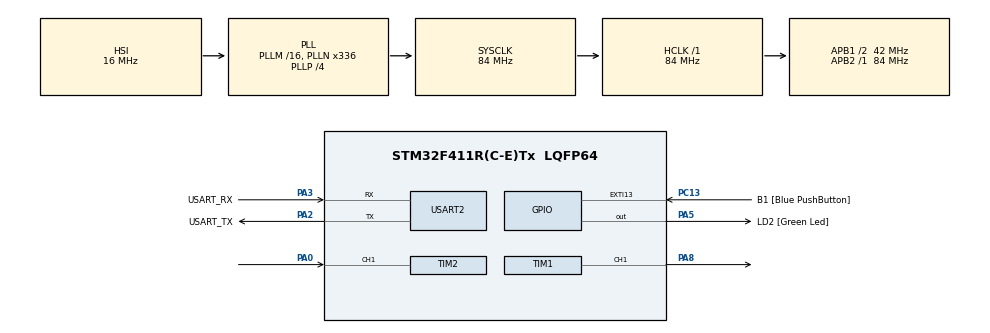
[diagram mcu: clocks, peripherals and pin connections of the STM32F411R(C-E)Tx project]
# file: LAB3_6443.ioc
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Dma.Request0=TIM2_CH1
Dma.TIM2_CH1.0.Direction=DMA_PERIPH_TO_MEMORY
Dma.TIM2_CH1.0.FIFOMode=DMA_FIFOMODE_DISABLE
Dma.TIM2_CH1.0.Instance=DMA1_Stream5
Dma.TIM2_CH1.0.MemDataAlignment=DMA_MDATAALIGN_WORD
Dma.TIM2_CH1.0.MemInc=DMA_MINC_ENABLE
Dma.TIM2_CH1.0.Mode=DMA_CIRCULAR
Dma.TIM2_CH1.0.PeriphDataAlignment=DMA_PDATAALIGN_WORD
Dma.TIM2_CH1.0.PeriphInc=DMA_PINC_DISABLE
Dma.TIM2_CH1.0.Priority=DMA_PRIORITY_LOW
Mcu.Family=STM32F4
Mcu.Name=STM32F411R(C-E)Tx
Mcu.Package=LQFP64
NVIC.DMA1_Stream5_IRQn=true\:0\:0\:false\:false\:true\:false\:true\:true
NVIC.PriorityGroup=NVIC_PRIORITYGROUP_0
PA0-WKUP.Signal=S_TIM2_CH1_ETR
PA13.GPIO_Label=TMS
PA13.Mode=Serial_Wire
PA13.Signal=SYS_JTMS-SWDIO
PA14.GPIO_Label=TCK
PA14.Mode=Serial_Wire
PA14.Signal=SYS_JTCK-SWCLK
PA2.GPIO_Label=USART_TX
PA2.Mode=Asynchronous
PA2.Signal=USART2_TX
PA3.GPIO_Label=USART_RX
PA3.Mode=Asynchronous
PA3.Signal=USART2_RX
PA5.GPIO_Label=LD2 [Green Led]
PA5.Signal=GPIO_Output
PA8.Signal=S_TIM1_CH1
PB3.GPIO_Label=SWO
PB3.Signal=SYS_JTDO-SWO
PC13-ANTI_TAMP.GPIO_Label=B1 [Blue PushButton]
PC13-ANTI_TAMP.GPIO_ModeDefaultEXTI=GPIO_MODE_IT_FALLING
PC13-ANTI_TAMP.Signal=GPXTI13
PC14-OSC32_IN.Mode=LSE-External-Oscillator
PC14-OSC32_IN.Signal=RCC_OSC32_IN
PC15-OSC32_OUT.Mode=LSE-External-Oscillator
PC15-OSC32_OUT.Signal=RCC_OSC32_OUT
PH0\ -\ OSC_IN.Mode=HSE-External-Clock-Source
PH0\ -\ OSC_IN.Signal=RCC_OSC_IN
PH1\ -\ OSC_OUT.Mode=HSE-External-Clock-Source
PH1\ -\ OSC_OUT.Signal=RCC_OSC_OUT
ProjectManager.HeapSize=0x200
ProjectManager.StackSize=0x400
ProjectManager.TargetToolchain=STM32CubeIDE
RCC.48MHZClocksFreq_Value=84000000
RCC.AHBFreq_Value=84000000
RCC.APB1CLKDivider=RCC_HCLK_DIV2
RCC.APB1Freq_Value=42000000
RCC.APB1TimFreq_Value=84000000
RCC.APB2Freq_Value=84000000
RCC.APB2TimFreq_Value=84000000
RCC.CortexFreq_Value=84000000
RCC.FLatency-AdvancedSettings=FLASH_LATENCY_2
RCC.HCLKFreq_Value=84000000
RCC.HSE_VALUE=8000000
RCC.HSI_VALUE=16000000
RCC.PLLN=336
RCC.PLLP=RCC_PLLP_DIV4
RCC.SYSCLKFreq_VALUE=84000000
RCC.SYSCLKSource=RCC_SYSCLKSOURCE_PLLCLK
RCC.VCOOutputFreq_Value=336000000
SH.S_TIM1_CH1.0=TIM1_CH1,PWM Generation1 CH1
SH.S_TIM2_CH1_ETR.0=TIM2_CH1,Input_Capture1_from_TI1
TIM1.Channel-PWM\ Generation1\ CH1=TIM_CHANNEL_1
TIM1.Period=999
TIM1.Prescaler=83
TIM1.Pulse-PWM\ Generation1\ CH1=500
TIM2.Channel-Input_Capture1_from_TI1=TIM_CHANNEL_1
TIM2.Prescaler=83
USART2.VirtualMode=VM_ASYNC
VP_TIM1_VS_ClockSourceINT.Mode=Internal
VP_TIM2_VS_ClockSourceINT.Mode=Internal
board=NUCLEO-F411RE

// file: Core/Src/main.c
/* USER CODE BEGIN Header */
/**
  ******************************************************************************
  * @file           : main.c
  * @brief          : Main program body
  ******************************************************************************
  * @attention
  *
  * Copyright (c) 2023 STMicroelectronics.
  * All rights reserved.
  *
  * This software is licensed under terms that can be found in the LICENSE file
  * in the root directory of this software component.
  * If no LICENSE file comes with this software, it is provided AS-IS.
  *
  ******************************************************************************
  */
/* USER CODE END Header */
#include "main.h"

/* USER CODE BEGIN Includes */
#define IC_BUFFER_SIZE 7
/* USER CODE END Includes */

TIM_HandleTypeDef htim1;
TIM_HandleTypeDef htim2;
DMA_HandleTypeDef hdma_tim2_ch1;

UART_HandleTypeDef huart2;

/* USER CODE BEGIN PV */
uint32_t InputCapture[IC_BUFFER_SIZE];
float avgRisingedgePeriod;
float MotorReadRPM = 0;

int MotorControlEnable = 1;
float MotorSetRPM = 19;
int MotorSetDuty = 50;
uint32_t duty = 100;
/* USER CODE END PV */

void SystemClock_Config(void);
static void MX_GPIO_Init(void);
static void MX_DMA_Init(void);
static void MX_USART2_UART_Init(void);
static void MX_TIM1_Init(void);
static void MX_TIM2_Init(void);
/* USER CODE BEGIN PFP */
float IC_Calc_Period();
/* USER CODE END PFP */

int main(void)
{

  /* MCU Configuration--------------------------------------------------------*/

  /* Reset of all peripherals, Initializes the Flash interface and the Systick. */
  HAL_Init();

  /* Configure the system clock */
  SystemClock_Config();

  /* Initialize all configured peripherals */
  MX_GPIO_Init();
  MX_DMA_Init();
  MX_USART2_UART_Init();
  MX_TIM1_Init();
  MX_TIM2_Init();
  /* USER CODE BEGIN 2 */
HAL_TIM_Base_Start(&htim1);
HAL_TIM_PWM_Start(&htim1,TIM_CHANNEL_1);

HAL_TIM_Base_Start(&htim2);
HAL_TIM_IC_Start_DMA(&htim2, TIM_CHANNEL_1, InputCapture, IC_BUFFER_SIZE);
  /* USER CODE END 2 */

  /* Infinite loop */
  while (1)
  {

    /* USER CODE BEGIN 3 */
	  static uint32_t timestamp = 0;
	  if(HAL_GetTick()>= timestamp){
		  timestamp = HAL_GetTick()+5;
		  avgRisingedgePeriod = IC_Calc_Period();
		  MotorReadRPM = 1/((avgRisingedgePeriod*768)/60000000);
	  }

	  static uint32_t Dutytime = 0;
	  if(HAL_GetTick()>= Dutytime){
		  Dutytime = HAL_GetTick() + 5;
		  if(MotorControlEnable == 1){
			  if(MotorReadRPM < MotorSetRPM){
				  duty+=1;
			  }
			  else if(MotorReadRPM > MotorSetRPM){
				  duty-=1;
			  }
		  }
	  }

	  if(MotorControlEnable == 0){
		  duty = MotorSetDuty*10;
	  }

	  if(duty > 1000 && duty < 1500){
		  duty = 1000;
	  }
	  else if(duty < 4294967296 && duty > 1500){
		  duty = 0;
	  }
	  __HAL_TIM_SET_COMPARE(&htim1, TIM_CHANNEL_1, duty);

  }
  /* USER CODE END 3 */
}

void SystemClock_Config(void)
{
  RCC_OscInitTypeDef RCC_OscInitStruct = {0};
  RCC_ClkInitTypeDef RCC_ClkInitStruct = {0};

  /** Configure the main internal regulator output voltage
  */
  __HAL_RCC_PWR_CLK_ENABLE();
  __HAL_PWR_VOLTAGESCALING_CONFIG(PWR_REGULATOR_VOLTAGE_SCALE1);

  /** Initializes the RCC Oscillators according to the specified parameters
  * in the RCC_OscInitTypeDef structure.
  */
  RCC_OscInitStruct.OscillatorType = RCC_OSCILLATORTYPE_HSI;
  RCC_OscInitStruct.HSIState = RCC_HSI_ON;
  RCC_OscInitStruct.HSICalibrationValue = RCC_HSICALIBRATION_DEFAULT;
  RCC_OscInitStruct.PLL.PLLState = RCC_PLL_ON;
  RCC_OscInitStruct.PLL.PLLSource = RCC_PLLSOURCE_HSI;
  RCC_OscInitStruct.PLL.PLLM = 16;
  RCC_OscInitStruct.PLL.PLLN = 336;
  RCC_OscInitStruct.PLL.PLLP = RCC_PLLP_DIV4;
  RCC_OscInitStruct.PLL.PLLQ = 4;
  if (HAL_RCC_OscConfig(&RCC_OscInitStruct) != HAL_OK)
  {
    Error_Handler();
  }

  /** Initializes the CPU, AHB and APB buses clocks
  */
  RCC_ClkInitStruct.ClockType = RCC_CLOCKTYPE_HCLK|RCC_CLOCKTYPE_SYSCLK
                              |RCC_CLOCKTYPE_PCLK1|RCC_CLOCKTYPE_PCLK2;
  RCC_ClkInitStruct.SYSCLKSource = RCC_SYSCLKSOURCE_PLLCLK;
  RCC_ClkInitStruct.AHBCLKDivider = RCC_SYSCLK_DIV1;
  RCC_ClkInitStruct.APB1CLKDivider = RCC_HCLK_DIV2;
  RCC_ClkInitStruct.APB2CLKDivider = RCC_HCLK_DIV1;

  if (HAL_RCC_ClockConfig(&RCC_ClkInitStruct, FLASH_LATENCY_2) != HAL_OK)
  {
    Error_Handler();
  }
}

static void MX_TIM1_Init(void)
{

  TIM_ClockConfigTypeDef sClockSourceConfig = {0};
  TIM_MasterConfigTypeDef sMasterConfig = {0};
  TIM_OC_InitTypeDef sConfigOC = {0};
  TIM_BreakDeadTimeConfigTypeDef sBreakDeadTimeConfig = {0};

  htim1.Instance = TIM1;
  htim1.Init.Prescaler = 83;
  htim1.Init.CounterMode = TIM_COUNTERMODE_UP;
  htim1.Init.Period = 999;
  htim1.Init.ClockDivision = TIM_CLOCKDIVISION_DIV1;
  htim1.Init.RepetitionCounter = 0;
  htim1.Init.AutoReloadPreload = TIM_AUTORELOAD_PRELOAD_DISABLE;
  if (HAL_TIM_Base_Init(&htim1) != HAL_OK)
  {
    Error_Handler();
  }
  sClockSourceConfig.ClockSource = TIM_CLOCKSOURCE_INTERNAL;
  if (HAL_TIM_ConfigClockSource(&htim1, &sClockSourceConfig) != HAL_OK)
  {
    Error_Handler();
  }
  if (HAL_TIM_PWM_Init(&htim1) != HAL_OK)
  {
    Error_Handler();
  }
  sMasterConfig.MasterOutputTrigger = TIM_TRGO_RESET;
  sMasterConfig.MasterSlaveMode = TIM_MASTERSLAVEMODE_DISABLE;
  if (HAL_TIMEx_MasterConfigSynchronization(&htim1, &sMasterConfig) != HAL_OK)
  {
    Error_Handler();
  }
  sConfigOC.OCMode = TIM_OCMODE_PWM1;
  sConfigOC.Pulse = 500;
  sConfigOC.OCPolarity = TIM_OCPOLARITY_HIGH;
  sConfigOC.OCNPolarity = TIM_OCNPOLARITY_HIGH;
  sConfigOC.OCFastMode = TIM_OCFAST_DISABLE;
  sConfigOC.OCIdleState = TIM_OCIDLESTATE_RESET;
  sConfigOC.OCNIdleState = TIM_OCNIDLESTATE_RESET;
  if (HAL_TIM_PWM_ConfigChannel(&htim1, &sConfigOC, TIM_CHANNEL_1) != HAL_OK)
  {
    Error_Handler();
  }
  sBreakDeadTimeConfig.OffStateRunMode = TIM_OSSR_DISABLE;
  sBreakDeadTimeConfig.OffStateIDLEMode = TIM_OSSI_DISABLE;
  sBreakDeadTimeConfig.LockLevel = TIM_LOCKLEVEL_OFF;
  sBreakDeadTimeConfig.DeadTime = 0;
  sBreakDeadTimeConfig.BreakState = TIM_BREAK_DISABLE;
  sBreakDeadTimeConfig.BreakPolarity = TIM_BREAKPOLARITY_HIGH;
  sBreakDeadTimeConfig.AutomaticOutput = TIM_AUTOMATICOUTPUT_DISABLE;
  if (HAL_TIMEx_ConfigBreakDeadTime(&htim1, &sBreakDeadTimeConfig) != HAL_OK)
  {
    Error_Handler();
  }
  HAL_TIM_MspPostInit(&htim1);

}

static void MX_TIM2_Init(void)
{

  TIM_ClockConfigTypeDef sClockSourceConfig = {0};
  TIM_MasterConfigTypeDef sMasterConfig = {0};
  TIM_IC_InitTypeDef sConfigIC = {0};

  htim2.Instance = TIM2;
  htim2.Init.Prescaler = 83;
  htim2.Init.CounterMode = TIM_COUNTERMODE_UP;
  htim2.Init.Period = 4294967295;
  htim2.Init.ClockDivision = TIM_CLOCKDIVISION_DIV1;
  htim2.Init.AutoReloadPreload = TIM_AUTORELOAD_PRELOAD_DISABLE;
  if (HAL_TIM_Base_Init(&htim2) != HAL_OK)
  {
    Error_Handler();
  }
  sClockSourceConfig.ClockSource = TIM_CLOCKSOURCE_INTERNAL;
  if (HAL_TIM_ConfigClockSource(&htim2, &sClockSourceConfig) != HAL_OK)
  {
    Error_Handler();
  }
  if (HAL_TIM_IC_Init(&htim2) != HAL_OK)
  {
    Error_Handler();
  }
  sMasterConfig.MasterOutputTrigger = TIM_TRGO_RESET;
  sMasterConfig.MasterSlaveMode = TIM_MASTERSLAVEMODE_DISABLE;
  if (HAL_TIMEx_MasterConfigSynchronization(&htim2, &sMasterConfig) != HAL_OK)
  {
    Error_Handler();
  }
  sConfigIC.ICPolarity = TIM_INPUTCHANNELPOLARITY_RISING;
  sConfigIC.ICSelection = TIM_ICSELECTION_DIRECTTI;
  sConfigIC.ICPrescaler = TIM_ICPSC_DIV1;
  sConfigIC.ICFilter = 0;
  if (HAL_TIM_IC_ConfigChannel(&htim2, &sConfigIC, TIM_CHANNEL_1) != HAL_OK)
  {
    Error_Handler();
  }

}

static void MX_USART2_UART_Init(void)
{

  huart2.Instance = USART2;
  huart2.Init.BaudRate = 115200;
  huart2.Init.WordLength = UART_WORDLENGTH_8B;
  huart2.Init.StopBits = UART_STOPBITS_1;
  huart2.Init.Parity = UART_PARITY_NONE;
  huart2.Init.Mode = UART_MODE_TX_RX;
  huart2.Init.HwFlowCtl = UART_HWCONTROL_NONE;
  huart2.Init.OverSampling = UART_OVERSAMPLING_16;
  if (HAL_UART_Init(&huart2) != HAL_OK)
  {
    Error_Handler();
  }

}

static void MX_DMA_Init(void)
{

  /* DMA controller clock enable */
  __HAL_RCC_DMA1_CLK_ENABLE();

  /* DMA interrupt init */
  /* DMA1_Stream5_IRQn interrupt configuration */
  HAL_NVIC_SetPriority(DMA1_Stream5_IRQn, 0, 0);
  HAL_NVIC_EnableIRQ(DMA1_Stream5_IRQn);

}

static void MX_GPIO_Init(void)
{
  GPIO_InitTypeDef GPIO_InitStruct = {0};

  /* GPIO Ports Clock Enable */
  __HAL_RCC_GPIOC_CLK_ENABLE();
  __HAL_RCC_GPIOH_CLK_ENABLE();
  __HAL_RCC_GPIOA_CLK_ENABLE();
  __HAL_RCC_GPIOB_CLK_ENABLE();

  /*Configure GPIO pin Output Level */
  HAL_GPIO_WritePin(LD2_GPIO_Port, LD2_Pin, GPIO_PIN_RESET);

  /*Configure GPIO pin : B1_Pin */
  GPIO_InitStruct.Pin = B1_Pin;
  GPIO_InitStruct.Mode = GPIO_MODE_IT_FALLING;
  GPIO_InitStruct.Pull = GPIO_NOPULL;
  HAL_GPIO_Init(B1_GPIO_Port, &GPIO_InitStruct);

  /*Configure GPIO pin : LD2_Pin */
  GPIO_InitStruct.Pin = LD2_Pin;
  GPIO_InitStruct.Mode = GPIO_MODE_OUTPUT_PP;
  GPIO_InitStruct.Pull = GPIO_NOPULL;
  GPIO_InitStruct.Speed = GPIO_SPEED_FREQ_LOW;
  HAL_GPIO_Init(LD2_GPIO_Port, &GPIO_InitStruct);

}

/* USER CODE BEGIN 4 */
float IC_Calc_Period(){
	uint32_t currentDMAPointer = IC_BUFFER_SIZE - __HAL_DMA_GET_COUNTER((htim2.hdma[1]));
	uint32_t lastValidDMAPointer = (currentDMAPointer-1 + IC_BUFFER_SIZE) % IC_BUFFER_SIZE;
	uint32_t i = (lastValidDMAPointer + IC_BUFFER_SIZE - 6) % IC_BUFFER_SIZE;
	uint32_t sumdiff = 0;
	while(i != lastValidDMAPointer){
		uint32_t FirstCapture = InputCapture[i];
		uint32_t NextCapture = InputCapture[(i+1)%IC_BUFFER_SIZE];
		sumdiff += NextCapture - FirstCapture;
		i = (i+1)%IC_BUFFER_SIZE;
	}
	return sumdiff / 5.0;
}
/* USER CODE END 4 */

void Error_Handler(void)
{
  __disable_irq();
  while (1)
  {
  }
}
